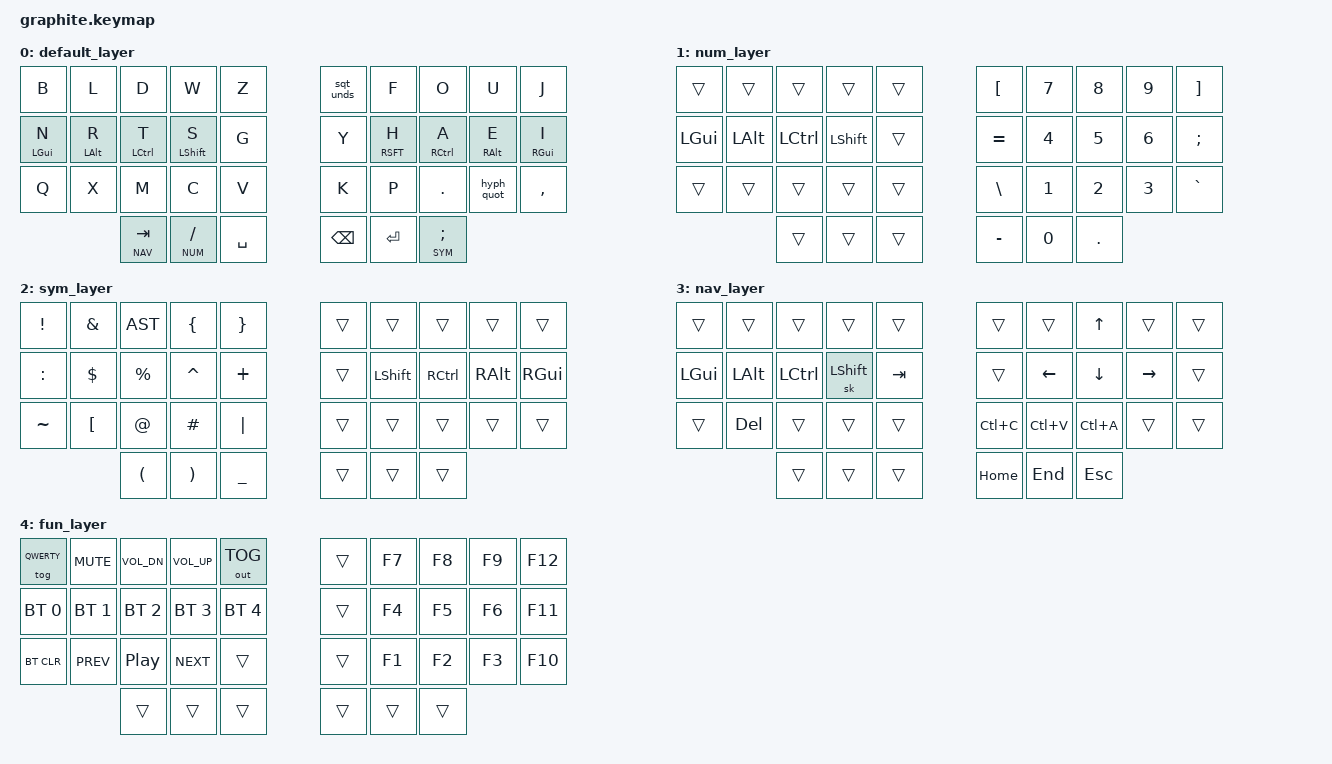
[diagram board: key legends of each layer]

/*
 * Copyright (c) 2020 The ZMK Contributors
 *
 * SPDX-License-Identifier: MIT
 */

#include <behaviors.dtsi>
#include <dt-bindings/zmk/keys.h>
#include <dt-bindings/zmk/bt.h>
#include <dt-bindings/zmk/outputs.h>

#define GRAPHITE 0
#define NUM 1
#define SYM 2
#define NAV 3
#define FUN 4


/ {
    conditional_layers {
        compatible = "zmk,conditional-layers";
        tri_layer {
            if-layers = <SYM NAV>;
            then-layer = <FUN>;
        };
    };
    behaviors {
        sqt_unds: apostrophe_underscore {
            compatible = "zmk,behavior-mod-morph";
            #binding-cells = <0>;
            bindings = <&kp SQT>, <&kp UNDER>;
            mods = <(MOD_LSFT|MOD_RSFT)>;
            keep-mods = <(MOD_RSFT)>;
        };
        hyph_quot: hyphen_doublequotes {
            compatible = "zmk,behavior-mod-morph";
            #binding-cells = <0>;
            bindings = <&kp MINUS>, <&kp DQT>;
            mods = <(MOD_LSFT|MOD_RSFT)>;
        };
        
    };
        keymap {
                compatible = "zmk,keymap";

                default_layer {
                        bindings = <
// ╭─────────────┬─────────────┬─────────────┬─────────────┬─────────────╮   ╭─────────────┬─────────────┬─────────────┬─────────────┬─────────────╮
        &kp B         &kp L         &kp D         &kp W         &kp Z           &sqt_unds      &kp F         &kp O         &kp U       &kp J   
// ├─────────────┼─────────────┼─────────────┼─────────────┼─────────────┤   ├─────────────┼─────────────┼─────────────┼─────────────┼─────────────┤
        &mt LGUI N   &mt LALT R   &mt LCTRL T   &mt LSHFT S    &kp G             &kp Y         &mt RSFT H    &mt RCTRL A   &mt RALT E    &mt RGUI I
// ├─────────────┼─────────────┼─────────────┼─────────────┼─────────────┤   ├─────────────┼─────────────┼─────────────┼─────────────┼─────────────┤
        &kp Q         &kp X         &kp M         &kp C         &kp V             &kp K         &kp P      &kp PERIOD    &hyph_quot    &kp COMMA
// ╰─────────────┴─────────────┼─────────────┼─────────────┼─────────────┤   ├─────────────┼─────────────┼─────────────┼─────────────┴─────────────╯
                                 &lt NAV TAB     &lt NUM SLASH   &kp SPACE     &kp BACKSPACE   &kp ENTER    &lt SYM SEMI
//                             ╰─────────────┴─────────────┴─────────────╯   ╰─────────────┴─────────────┴─────────────╯
                        >;
                };
                num_layer {
                        bindings = <
// ╭─────────────┬─────────────┬─────────────┬─────────────┬─────────────╮   ╭─────────────┬─────────────┬─────────────┬─────────────┬─────────────╮
        &trans         &trans         &trans       &trans       &trans            &kp LBKT     &kp N7         &kp N8         &kp N9       &kp RBKT   
// ├─────────────┼─────────────┼─────────────┼─────────────┼─────────────┤   ├─────────────┼─────────────┼─────────────┼─────────────┼─────────────┤
        &kp LGUI    &kp LALT    &kp LCTRL     &kp LSHFT       &trans           &kp EQUAL     &kp N4         &kp N5         &kp N6      &kp SEMI
// ├─────────────┼─────────────┼─────────────┼─────────────┼─────────────┤   ├─────────────┼─────────────┼─────────────┼─────────────┼─────────────┤
        &trans         &trans        &trans        &trans       &trans           &kp BSLH       &kp N1       &kp N2        &kp N3      &kp GRAVE
// ╰─────────────┴─────────────┼─────────────┼─────────────┼─────────────┤   ├─────────────┼─────────────┼─────────────┼─────────────┴─────────────╯
                                    &trans        &trans        &trans           &kp MINUS      &kp N0      &kp PERIOD
//                             ╰─────────────┴─────────────┴─────────────╯   ╰─────────────┴─────────────┴─────────────╯
                        >;
                };
                sym_layer {
                        bindings = <
// ╭─────────────┬─────────────┬─────────────┬─────────────┬─────────────╮   ╭─────────────┬─────────────┬─────────────┬─────────────┬─────────────╮
      &kp EXCL       &kp AMPS       &kp AST      &kp LBRC     &kp RBRC          &trans       &trans        &trans        &trans      &trans
// ├─────────────┼─────────────┼─────────────┼─────────────┼─────────────┤   ├─────────────┼─────────────┼─────────────┼─────────────┼─────────────┤
      &kp COLON      &kp DLLR      &kp PRCNT      &kp CARET      &kp PLUS         &trans       &kp LSHFT     &kp RCTRL     &kp RALT     &kp RGUI
// ├─────────────┼─────────────┼─────────────┼─────────────┼─────────────┤   ├─────────────┼─────────────┼─────────────┼─────────────┼─────────────┤
      &kp TILDE     &kp LBKT       &kp AT      &kp HASH       &kp PIPE            &trans       &trans         &trans        &trans      &trans
// ╰─────────────┴─────────────┼─────────────┼─────────────┼─────────────┤   ├─────────────┼─────────────┼─────────────┼─────────────┴─────────────╯
                                    &kp LPAR    &kp RPAR      &kp UNDER            &trans        &trans        &trans
//                             ╰─────────────┴─────────────┴─────────────╯   ╰─────────────┴─────────────┴─────────────╯
                        >;
                };

                nav_layer {
                        bindings = <
// ╭─────────────┬─────────────┬─────────────┬─────────────┬─────────────╮   ╭─────────────┬─────────────┬─────────────┬─────────────┬─────────────╮
        &trans        &trans        &trans        &trans        &trans            &trans       &trans      &kp UP       &trans     &trans
// ├─────────────┼─────────────┼─────────────┼─────────────┼─────────────┤   ├─────────────┼─────────────┼─────────────┼─────────────┼─────────────┤
      &kp LGUI     &kp LALT      &kp LCTRL      &sk LSHFT      &kp TAB            &trans       &kp LEFT       &kp DOWN      &kp RIGHT       &trans
// ├─────────────┼─────────────┼─────────────┼─────────────┼─────────────┤   ├─────────────┼─────────────┼─────────────┼─────────────┼─────────────┤
        &trans       &kp DEL        &trans        &trans        &trans            &kp LC(C)     &kp LC(V)    &kp LC(A)        &trans        &trans
// ╰─────────────┴─────────────┼─────────────┼─────────────┼─────────────┤   ├─────────────┼─────────────┼─────────────┼─────────────┴─────────────╯
                                    &trans        &trans        &trans            &kp HOME        &kp END        &kp ESC
//                             ╰─────────────┴─────────────┴─────────────╯   ╰─────────────┴─────────────┴─────────────╯
                        >;
                };

                fun_layer {
                        bindings = <
// ╭─────────────┬─────────────┬─────────────┬─────────────┬─────────────╮   ╭─────────────┬─────────────┬─────────────┬─────────────┬─────────────╮
     &tog QWERTY   &kp K_MUTE    &kp C_VOL_DN  &kp C_VOL_UP  &out OUT_TOG         &trans        &kp F7        &kp F8        &kp F9       &kp F12
// ├─────────────┼─────────────┼─────────────┼─────────────┼─────────────┤   ├─────────────┼─────────────┼─────────────┼─────────────┼─────────────┤
     &bt BT_SEL 0  &bt BT_SEL 1  &bt BT_SEL 2  &bt BT_SEL 3  &bt BT_SEL 4         &trans        &kp F4        &kp F5        &kp F6       &kp F11
// ├─────────────┼─────────────┼─────────────┼─────────────┼─────────────┤   ├─────────────┼─────────────┼─────────────┼─────────────┼─────────────┤
      &bt BT_CLR    &kp C_PREV     &kp C_PP     &kp C_NEXT      &trans            &trans        &kp F1        &kp F2        &kp F3       &kp F10
// ╰─────────────┴─────────────┼─────────────┼─────────────┼─────────────┤   ├─────────────┼─────────────┼─────────────┼─────────────┴─────────────╯
                                    &trans        &trans        &trans            &trans        &trans        &trans
//                             ╰─────────────┴─────────────┴─────────────╯   ╰─────────────┴─────────────┴─────────────╯
                        >;
                };
        };
};
